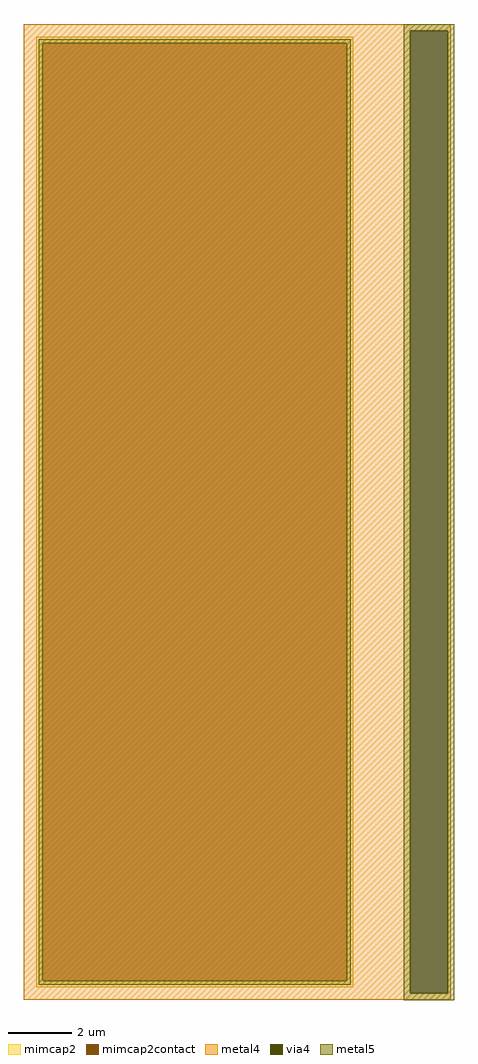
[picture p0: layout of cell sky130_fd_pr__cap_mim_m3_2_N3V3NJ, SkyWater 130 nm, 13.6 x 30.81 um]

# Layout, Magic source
magic
tech sky130B
magscale 1 2
<< metal4 >>
rect -1349 3039 1349 3080
rect -1349 -3039 1093 3039
rect 1329 -3039 1349 3039
rect -1349 -3080 1349 -3039
<< via4 >>
rect 1093 -3039 1329 3039
<< mimcap2 >>
rect -1269 2960 731 3000
rect -1269 -2960 -1229 2960
rect 691 -2960 731 2960
rect -1269 -3000 731 -2960
<< mimcap2contact >>
rect -1229 -2960 691 2960
<< metal5 >>
rect 1051 3039 1371 3081
rect -1253 2960 715 2984
rect -1253 -2960 -1229 2960
rect 691 -2960 715 2960
rect -1253 -2984 715 -2960
rect 1051 -3039 1093 3039
rect 1329 -3039 1371 3039
rect 1051 -3081 1371 -3039
<< properties >>
string FIXED_BBOX -1349 -3080 811 3080
string gencell sky130_fd_pr__cap_mim_m3_2
string library sky130
string parameters w 10 l 30 val 615.2 carea 2.00 cperi 0.19 nx 1 ny 1 dummy 0 square 0 lmin 2.00 wmin 2.00 lmax 30.0 wmax 30.0 dc 0 bconnect 1 tconnect 1 ccov 100
<< end >>
